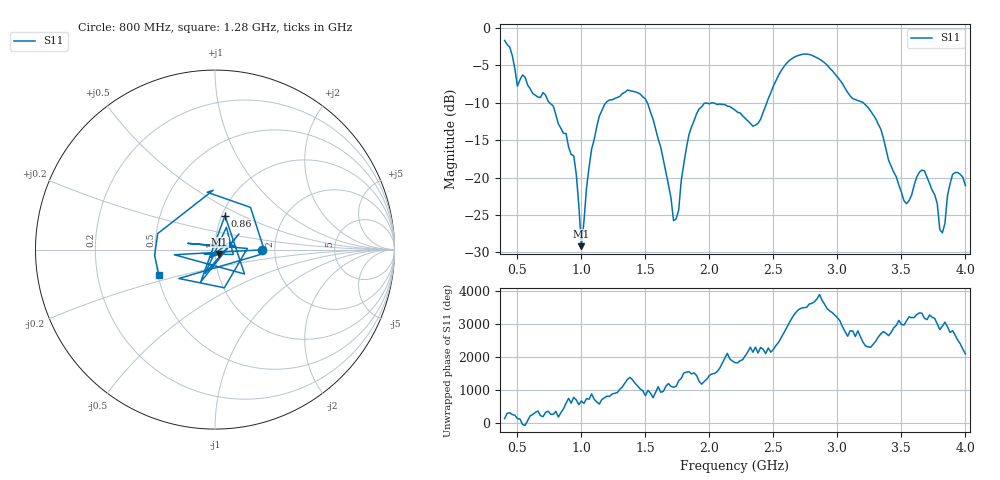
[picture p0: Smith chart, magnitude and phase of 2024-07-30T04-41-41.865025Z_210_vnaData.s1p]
!Created with skrf (http://scikit-rf.org).
# Hz S RI R 50.0
!freq ReS11 ImS11
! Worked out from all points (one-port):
!   181 points, 400 MHz to 4 GHz, reference 50 ohm
!   lowest |S11| = -29.2 dB at 1 GHz (marker M1), VSWR 1.07, Z = 52.4 - j2.61 ohm
!   |S11| at or under -10 dB: 752.3 MHz to 1.192 GHz (439.6 MHz wide, 45.2 % of centre); 1.515 GHz to 2.018 GHz (502.8 MHz wide, 28.5 % of centre); 3.203 GHz to end of sweep (the widest 3 of 4)
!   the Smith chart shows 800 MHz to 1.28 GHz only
!   S11 on the Smith chart (normalised r, x): 800 MHz: 1.72, -0.00; 860 MHz: 1.04, +0.41; 1.28 GHz: 0.51, -0.17
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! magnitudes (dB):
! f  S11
! 400 MHz  -1.7
! 500 MHz  -7.8
! 540 MHz  -6.3
! 800 MHz  -11.6
! 860 MHz  -14.1
! 940 MHz  -17.1
! 1 GHz  -29.2
! 1.06 GHz  -18.6
! 1.12 GHz  -13.2
! 1.28 GHz  -9.3
! 1.3 GHz  -9.2
! 1.5 GHz  -9.5
! 1.62 GHz  -15.9
! 1.72 GHz  -25.8
! 1.76 GHz  -24.4
! 1.84 GHz  -14.3
! 1.92 GHz  -10.8
! 2.2 GHz  -11.0
! 2.38 GHz  -12.7
! 2.66 GHz  -3.9
! 2.86 GHz  -4.1
! 3.1 GHz  -9.1
! 3.3 GHz  -12.1
! 3.56 GHz  -23.1
! 3.68 GHz  -19.1
! 3.82 GHz  -27.4
! 3.9 GHz  -19.6
! 4 GHz  -21.1
